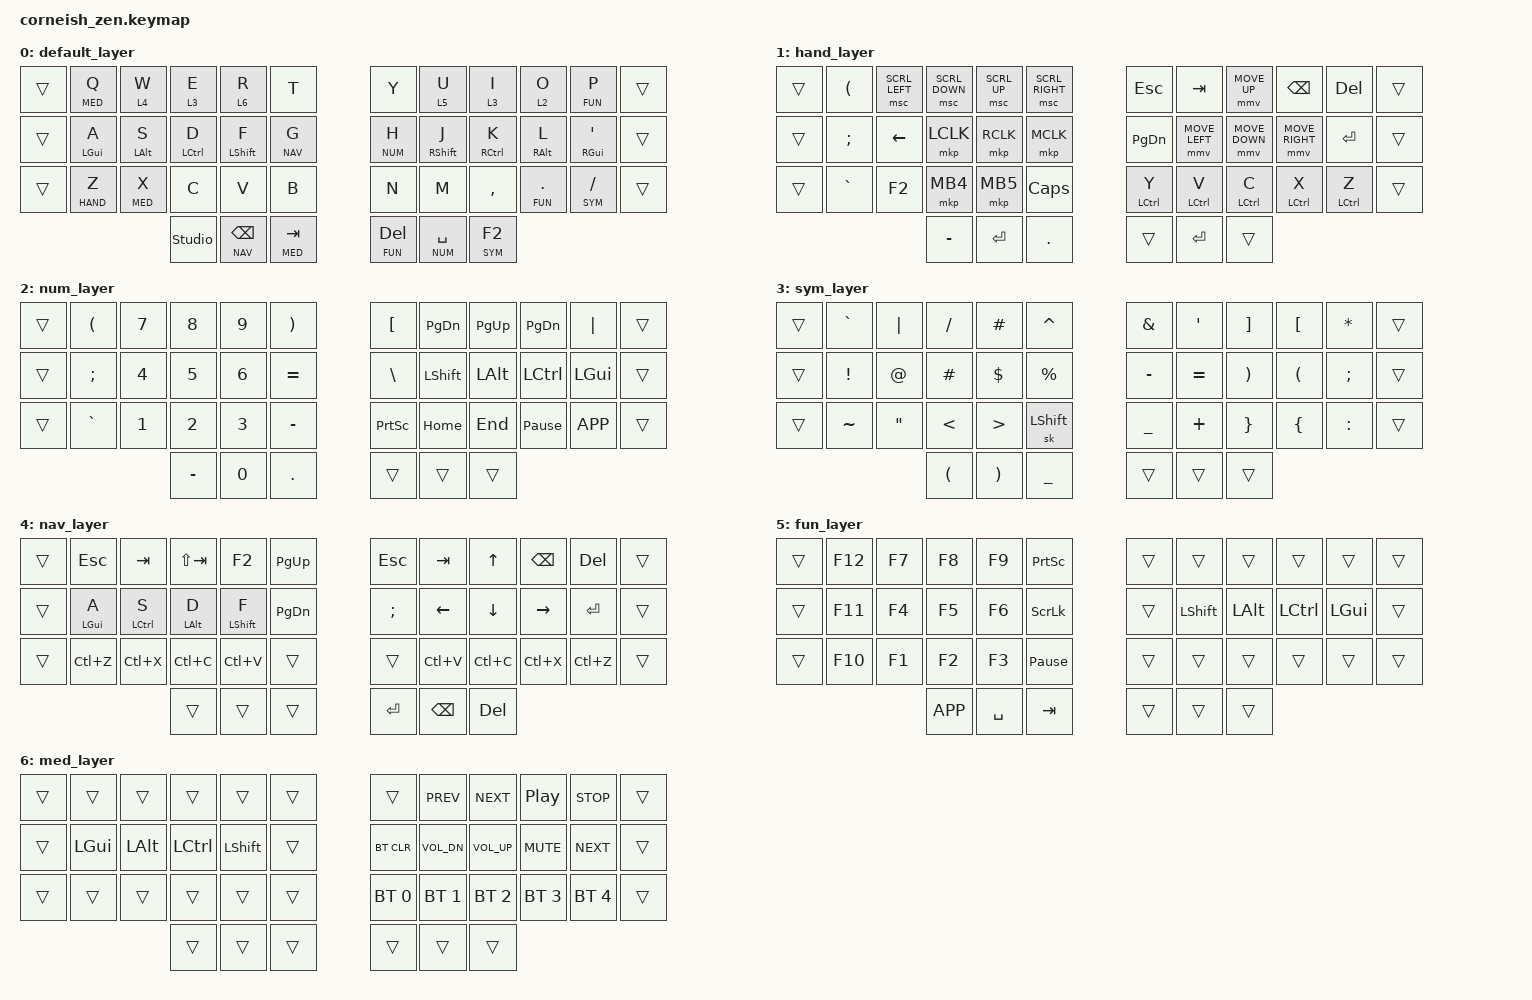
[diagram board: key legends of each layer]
#include <behaviors.dtsi>
#include <dt-bindings/zmk/keys.h>
#include <dt-bindings/zmk/bt.h>

#define ZMK_POINTING_DEFAULT_MOVE_VAL 1200  // default: 600
#define ZMK_POINTING_DEFAULT_SCRL_VAL 20    // default: 10
#include <dt-bindings/zmk/pointing.h>

/ {
    chosen {
        zmk,physical-layout = &foostan_corne_6col_layout;
        // zmk,physical-layout = &foostan_corne_5col_layout;
    };
};

#define BASE 0
#define HAND 1
#define NUM 2
#define SYM 3
#define NAV 4
#define FUN 5
#define MED 6


/ {
    behaviors {
      hm: homerow_mods {
          compatible = "zmk,behavior-hold-tap";
          label = "HOMEROW_MODS";
          #binding-cells = <2>;
          flavor = "tap-preferred";
          tapping-term-ms = <200>;
          quick_tap_ms = <175>;
          bindings = <&kp>, <&kp>;
      };
    };



    combos {
        compatible = "zmk,combos";
combo_esc {
            timeout-ms = <45>;
            key-positions = <13 14>;
            bindings = <&kp ESC>;
        };
        combo_tab {
            timeout-ms = <45>;
            key-positions = <14 15>;
            bindings = <&kp TAB>;
        };
        combo_delete {
            timeout-ms = <45>;
            key-positions = <15 16>;
            bindings = <&kp DELETE>;
        };
        combo_backspace {
            timeout-ms = <45>;
            key-positions = <19 20>;
            bindings = <&kp BSPC>;
        };
        combo_enter {
            timeout-ms = <45>;
            key-positions = <21 22>;
            bindings = <&kp RET>;
        };
        combo_scln {
            timeout-ms = <45>;
            key-positions = <20 21>;
            bindings = <&kp SCLN>;
        };
        combo_lpar {
            timeout-ms = <45>;
            key-positions = <3 4>;
            bindings = <&kp LPAR>;
        };
        combo_rpar {
            timeout-ms = <45>;
            key-positions = <7 8>;
            bindings = <&kp RPAR>;
        };
        combo_minus {
            timeout-ms = <45>;
            key-positions = <2 3>;
            bindings = <&kp MINUS>;
        };
        combo_equal {
            timeout-ms = <45>;
            key-positions = <8 9>;
            bindings = <&kp EQUAL>;
        };

        combo_less_than {
            timeout-ms = <45>;
            key-positions = <31 32>;
            bindings = <&kp LT>;
        };
        combo_greater_than {
            timeout-ms = <45>;
            key-positions = <32 33>;
            bindings = <&kp GT>;
        };
        combo_pipe {
            timeout-ms = <45>;
            key-positions = <33 34>;
            bindings = <&kp PIPE>;
        };
    };
};

/ {
        keymap {
                compatible = "zmk,keymap";

                default_layer {
                        
                        bindings = <
&trans &lt MED Q              &lt 4 W              &lt 3 E              &lt 6 R              &kp T              &kp Y              &lt 5 U              &lt 3 I              &lt 2 O              &lt FUN P           &trans    
&trans &hm LGUI A         &hm LALT S        &hm LCTRL D         &hm LSHFT F         &lt NAV G              &lt NUM H              &hm RSHFT J        &hm RCTRL  K         &hm RALT L        &hm RGUI SQT   &trans     
&trans &lt HAND Z         &lt MED X          &kp C              &kp V              &kp B              &kp N              &kp M              &kp COMMA          &lt FUN DOT        &lt SYM SLASH   &trans 
                                             &studio_unlock             &lt  NAV BSPC     &lt  MED TAB      &lt  FUN DEL       &lt  NUM SPACE        &lt SYM F2
                        >;
                };
                                hand_layer {
                       
                        bindings = <
&trans &kp LPAR           &msc SCRL_LEFT        &msc SCRL_DOWN          &msc SCRL_UP          &msc SCRL_RIGHT          &kp ESC             &kp TAB           &mmv MOVE_UP            &kp BSPC          &kp DEL      &trans 
&trans &kp SEMI           &kp LEFT       &mkp LCLK        &mkp RCLK       &mkp MCLK          &kp PG_DN            &mmv MOVE_LEFT            &mmv MOVE_DOWN        &mmv MOVE_RIGHT          &kp ENTER      &trans        
&trans &kp GRAVE          &kp F2         &mkp MB4         &mkp MB5        &kp CAPS            &mt LCTRL Y              &mt LCTRL V            &mt LCTRL C           &mt LCTRL X           &mt LCTRL Z         &trans         
                                            &kp MINUS     &kp RETURN      &kp DOT               &trans                &kp RETURN            &trans  
                        >;
                };



                num_layer {
                       
                        bindings = <
&trans &kp LPAR           &kp N7          &kp N8          &kp N9          &kp RPAR           &kp LBKT              &kp PG_DN           &kp PG_UP           &kp PG_DN           &kp PIPE      &trans 
&trans &kp SEMI           &kp N4          &kp N5          &kp N6          &kp EQUAL          &kp BSLH              &kp LSHFT          &kp LALT           &kp LCTRL          &kp LGUI      &trans        
&trans &kp GRAVE          &kp N1          &kp N2          &kp N3          &kp MINUS          &kp PSCRN              &kp HOME           &kp END             &kp PAUSE_BREAK             &kp K_APP        &trans         
                                            &kp MINUS     &kp N0      &kp DOT               &trans                &trans             &trans  
                        >;
                };

                sym_layer {
                        
                        bindings = <
&trans &kp GRAVE           &kp PIPE           &kp FSLH          &kp HASH           &kp CARET           &kp AMPS                &kp SQT             &kp RBKT             &kp LBKT             &kp STAR       &trans   
&trans &kp EXCL          &kp AT           &kp HASH           &kp DLLR           &kp PRCNT           &kp MINUS                &kp EQUAL          &kp RPAR           &kp LPAR          &kp SEMI      &trans      
&trans &kp TILDE          &kp DQT           &kp LT             &kp GT           &sk LSHFT           &kp UNDER                &kp PLUS             &kp RBRC             &kp LBRC             &kp COLON       &trans   
                                      &kp LPAR           &kp RPAR           &kp UNDER          &trans                &trans             &trans                                          
                        >;
                };
                nav_layer {
                      
                        bindings = <
&trans &kp ESC            &kp TAB            &kp LS(TAB)           &kp F2            &kp PG_UP               &kp ESC        &kp TAB          &kp UP             &kp BSPC            &kp DEL     &trans       
&trans &hm LGUI A         &hm LCTRL S        &hm LALT D         &hm LSHFT F        &kp PG_DN                &kp SEMI          &kp LEFT           &kp DOWN           &kp RIGHT          &kp RETURN   &trans       
&trans &kp LC(Z)          &kp LC(X)          &kp LC(C)          &kp LC(V)          &trans                &trans        &kp LC(V)          &kp LC(C)          &kp LC(X)          &kp LC(Z)    &trans            
                                      &trans             &trans             &trans                &kp RET            &kp BSPC           &kp DEL
                        >;
                };        
                fun_layer {
                      
                        bindings = <
&trans &kp F12            &kp F7             &kp F8             &kp F9             &kp PSCRN          &trans                &trans             &trans             &trans             &trans     &trans     
&trans &kp F11            &kp F4             &kp F5             &kp F6             &kp SLCK           &trans                &kp LSHFT          &kp LALT           &kp LCTRL          &kp LGUI    &trans     
&trans &kp F10            &kp F1             &kp F2             &kp F3             &kp PAUSE_BREAK    &trans                &trans             &trans             &trans             &trans     &trans     
                                      &kp K_APP          &kp SPACE            &kp TAB            &trans                &trans             &trans                                          
                        >;
                };
                med_layer {
                        
                        bindings = <
&trans &trans             &trans             &trans             &trans             &trans                &trans             &kp C_PREV         &kp C_NEXT         &kp C_PP           &kp C_STOP   &trans    
&trans &kp LGUI           &kp LALT           &kp LCTRL          &kp LSHFT          &trans                &bt BT_CLR         &kp C_VOL_DN       &kp C_VOL_UP       &kp C_MUTE         &kp C_NEXT   &trans      
&trans &trans             &trans             &trans             &trans             &trans                &bt BT_SEL 0       &bt BT_SEL 1       &bt BT_SEL 2       &bt BT_SEL 3       &bt BT_SEL 4 &trans        
                                      &trans             &trans             &trans                &trans         &trans           &trans                                         
                        >;
        };
        };
};
